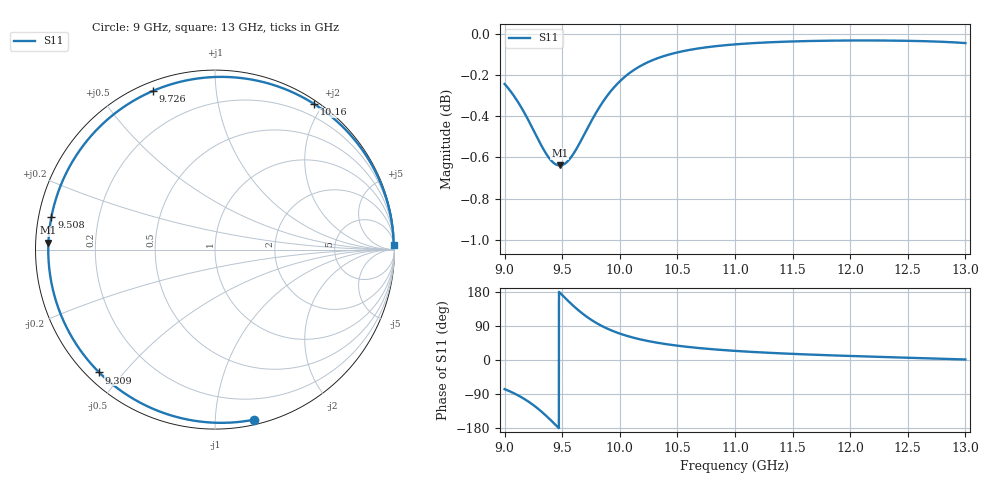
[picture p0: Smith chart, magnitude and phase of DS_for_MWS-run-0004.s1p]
! TOUCHSTONE file generated by CST DESIGN STUDIO
! Date and time: Tue Feb  4 12:45:44 2025
! Project name: C:\Work\MatlabApps\UnitCellOptimizationMatlab\CST\unitcell.cst
! Tree item: Tasks\Sweep1\SPara1\S-Parameters
! Header version: 2024
! Port assignment regex: !\s*Touchstone port\s*([0-9]+)\s*=\s*(CST MWS port|CST DES external port|CST DES block port)\s*(.+)\s* \(\"(.*)\"\)(\s*mode\s*([0-9]+))?.*
! Touchstone port assignment:
! Touchstone port 1 = CST DES external port 1 ("")
# GHz S MA R 50
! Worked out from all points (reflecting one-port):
!   4001 points, 9 GHz to 13 GHz, reference 50 ohm
!   lowest |S11| = -0.6 dB at 9.479 GHz (marker M1), VSWR 27.19, Z = 1.84 + j1.04 ohm
!   phase of S11 starts at -77 deg and turns -282 deg over the sweep
!   S11 on the Smith chart (normalised r, x): 9 GHz: 0.04, -1.26; 9.309 GHz: 0.04, -0.43; 9.508 GHz: 0.04, +0.10; 9.726 GHz: 0.04, +0.68; 10.16 GHz: 0.04, +1.89; 13 GHz: 17, +80
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9  0.9724 -77.0
9.078  0.9662 -87.3
9.176  0.9563 -103.7
9.245  0.9483 -117.9
9.309  0.9406 -133.3
9.354  0.9358 -145.4
9.401  0.9318 -158.8
9.441  0.9297 -170.8
9.479  0.9291 177.6
9.5  0.9293 171.2
9.508  0.9295 168.8
9.56  0.932 153.4
9.62  0.9373 136.7
9.672  0.943 123.5
9.726  0.9493 111.4
9.78  0.9554 100.7
9.841  0.9616 90.3
9.919  0.9683 79.1
10  0.9738 69.7
10.161  0.9816 55.6
10.315  0.9862 46.1
10.5  0.9897 37.8
10.722  0.9923 30.6
11  0.9942 24.1
11.5  0.9958 16.1
12  0.9963 10.6
12.5  0.9962 6.0
13  0.9949 1.4
